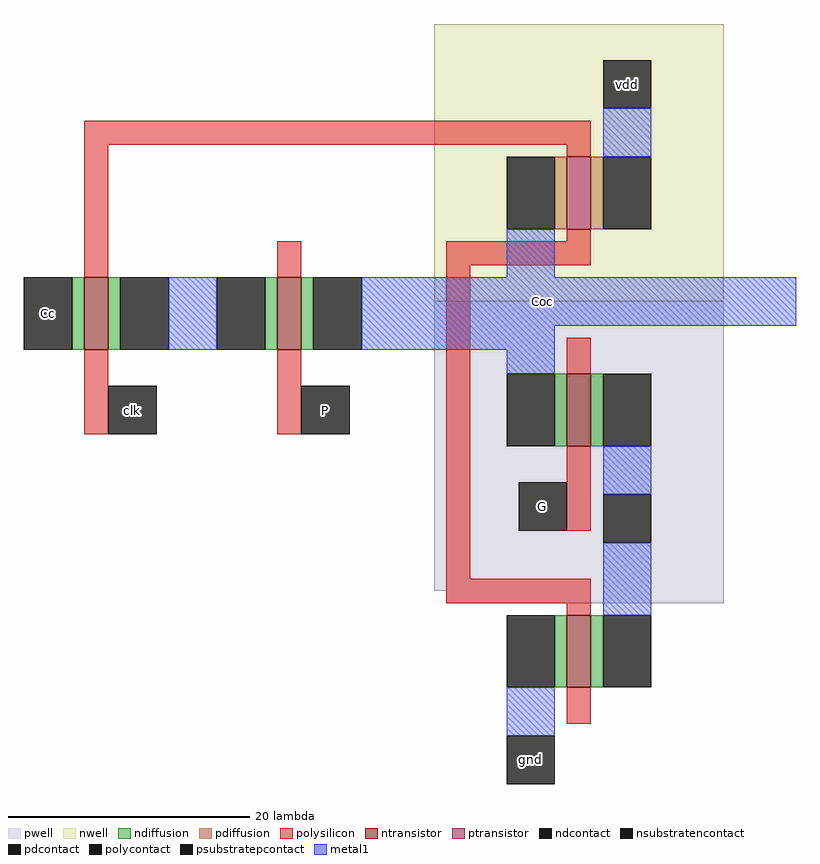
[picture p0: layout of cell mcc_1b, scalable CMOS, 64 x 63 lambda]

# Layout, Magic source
magic
tech scmos
<< nwell >>
rect -5 17 19 40
<< pwell >>
rect -5 -7 19 17
rect -4 -8 19 -7
<< ntransistor >>
rect -34 13 -32 19
rect -18 13 -16 19
rect 6 5 8 11
rect 6 -15 8 -9
<< ptransistor >>
rect 6 23 8 29
<< ndiffusion >>
rect -35 13 -34 19
rect -32 13 -31 19
rect -19 13 -18 19
rect -16 13 -15 19
rect 5 5 6 11
rect 8 5 9 11
rect 5 -15 6 -9
rect 8 -15 9 -9
<< pdiffusion >>
rect 5 23 6 29
rect 8 23 9 29
<< ndcontact >>
rect -39 13 -35 19
rect -31 13 -27 19
rect -23 13 -19 19
rect -15 13 -11 19
rect 1 5 5 11
rect 9 5 13 11
rect 1 -15 5 -9
rect 9 -15 13 -9
<< pdcontact >>
rect 1 23 5 29
rect 9 23 13 29
<< psubstratepcontact >>
rect 9 -3 13 1
rect 1 -23 5 -19
<< nsubstratencontact >>
rect 9 33 13 37
<< polysilicon >>
rect -34 30 8 32
rect -34 19 -32 30
rect 6 29 8 30
rect 6 22 8 23
rect -18 19 -16 22
rect -4 20 8 22
rect -34 6 -32 13
rect -18 6 -16 13
rect -4 -6 -2 20
rect 6 11 8 14
rect 6 -2 8 5
rect -4 -8 8 -6
rect 6 -9 8 -8
rect 6 -18 8 -15
<< polycontact >>
rect -32 6 -28 10
rect -16 6 -12 10
rect 2 -2 6 2
<< metal1 >>
rect 9 29 13 33
rect 1 19 5 23
rect -27 13 -23 19
rect -11 15 25 19
rect -11 13 5 15
rect 1 11 5 13
rect 9 1 13 5
rect 9 -9 13 -3
rect 1 -19 5 -15
<< labels >>
rlabel ndcontact -39 13 -35 19 7 Cc
port 1 w
rlabel polycontact -32 6 -28 10 5 clk
port 2 s
rlabel polycontact -16 6 -12 10 5 P
port 3 s
rlabel polycontact 2 -2 6 2 7 G
port 4 w
rlabel metal1 -11 15 19 19 3 Coc
port 5 e
rlabel psubstratepcontact 1 -23 5 -19 5 gnd
port 6 s
rlabel nsubstratencontact 9 33 13 37 1 vdd
port 7 n
<< end >>
